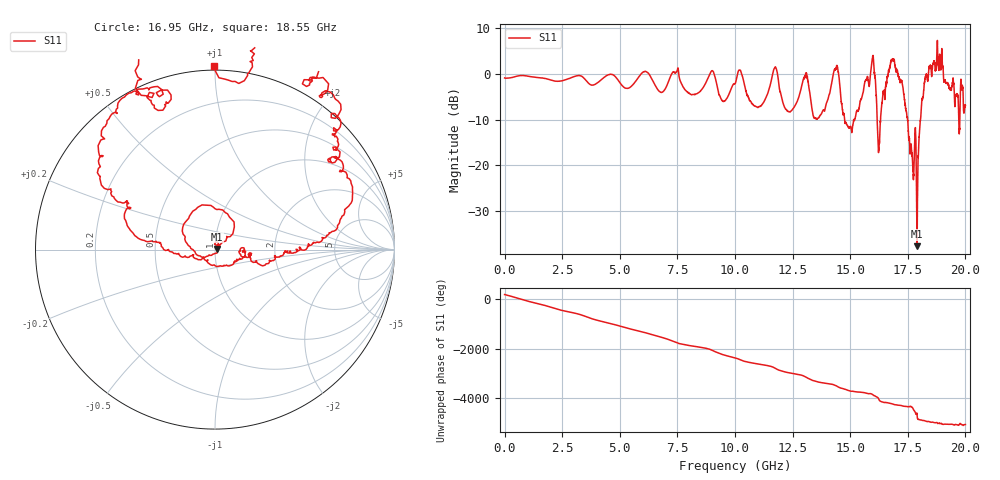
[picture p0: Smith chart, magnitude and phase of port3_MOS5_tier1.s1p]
! Created with skrf 1.8.0 (http://scikit-rf.org).
# GHz S RI R 50.0
!freq ReS11 ImS11
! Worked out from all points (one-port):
!   10001 points, 1 MHz to 20 GHz, reference 50 ohm
!   lowest |S11| = -37.6 dB at 17.91 GHz (marker M1), VSWR 1.03, Z = 51.3 + j0.346 ohm
!   |S11| at or under -10 dB: 14.76 GHz to 15.15 GHz (390.9 MHz wide, 2.61 % of centre); 16.17 GHz to 16.32 GHz (148.8 MHz wide, 0.916 % of centre); 17.49 GHz to 18.05 GHz (562.3 MHz wide, 3.16 % of centre) (the widest 3 of 5)
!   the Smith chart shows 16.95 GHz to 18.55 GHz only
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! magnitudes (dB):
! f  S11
! 1 MHz  -0.9
! 2.501 GHz  -1.5
! 5.001 GHz  -1.9
! 6.129 GHz  0.5
! 6.821 GHz  -4.0
! 7.501 GHz  0.9
! 8.183 GHz  -4.5
! 9.023 GHz  0.7
! 9.499 GHz  -6.0
! 10 GHz  -2.2
! 10.23 GHz  0.8
! 11.04 GHz  -7.1
! 11.75 GHz  1.5
! 12.14 GHz  -7.1
! 12.5 GHz  -7.7
! 13.07 GHz  0.0
! 13.63 GHz  -9.6
! 14.39 GHz  1.1
! 15 GHz  -11.6
! 15.97 GHz  3.5
! 16.26 GHz  -14.6
! 16.84 GHz  3.3
! 17.27 GHz  -2.4
! 17.5 GHz  -10.2
! 17.91 GHz  -37.6
! 18.21 GHz  -2.3
! 18.7 GHz  1.0
! 20 GHz  -6.8
